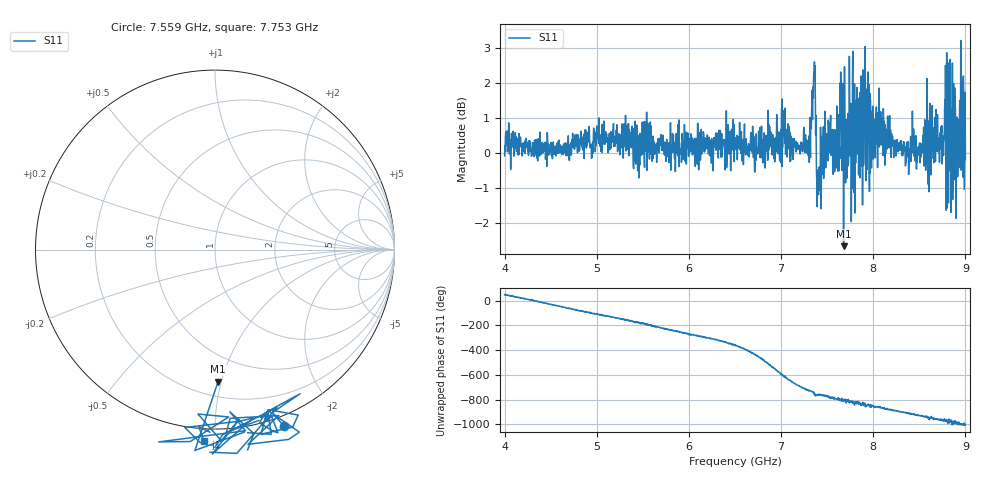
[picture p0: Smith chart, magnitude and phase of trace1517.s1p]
! Created with skrf 1.8.0 (http://scikit-rf.org).
# Hz S RI R 50.0
!freq ReS11 ImS11
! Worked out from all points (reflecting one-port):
!   1601 points, 4 GHz to 9 GHz, reference 50 ohm
!   lowest |S11| = -2.7 dB at 7.678 GHz (marker M1), VSWR 6.58, Z = 15.2 - j48.8 ohm
!   phase of S11 starts at 50 deg and turns -1054 deg over the sweep
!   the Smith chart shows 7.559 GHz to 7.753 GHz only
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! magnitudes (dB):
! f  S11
! 4 GHz  -0.1
! 4.625 GHz  0.0
! 5.25 GHz  -0.1
! 5.875 GHz  0.3
! 6.5 GHz  0.1
! 6.806 GHz  0.2
! 7.022 GHz  0.5
! 7.125 GHz  0.4
! 7.294 GHz  -0.1
! 7.347 GHz  1.9
! 7.409 GHz  -0.9
! 7.512 GHz  0.9
! 7.578 GHz  0.3
! 7.666 GHz  0.8
! 7.678 GHz  -2.7
! 7.75 GHz  -0.1
! 7.788 GHz  0.6
! 7.8 GHz  -1.7
! 7.875 GHz  0.5
! 7.928 GHz  1.4
! 7.981 GHz  -0.4
! 8.075 GHz  0.6
! 8.375 GHz  0.1
! 8.741 GHz  0.6
! 8.788 GHz  -0.7
! 8.919 GHz  -0.2
! 8.956 GHz  0.7
! 9 GHz  -0.2
